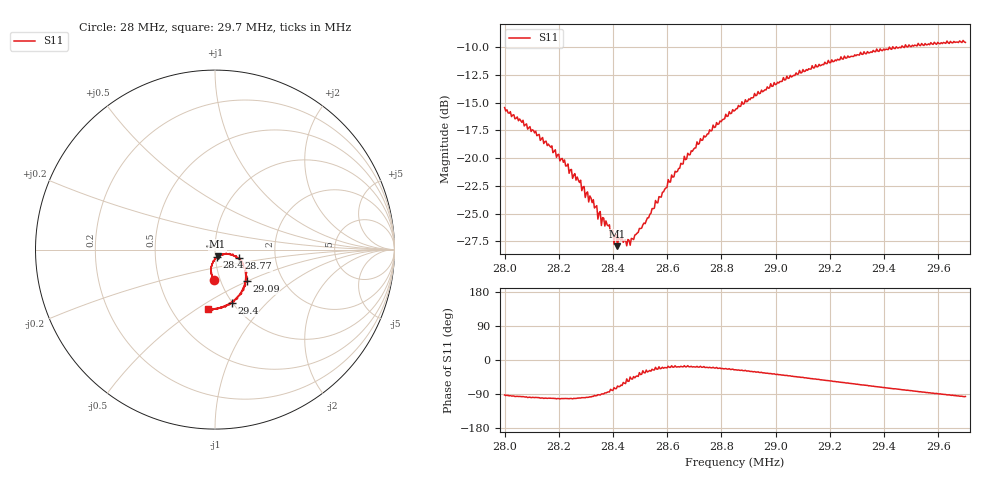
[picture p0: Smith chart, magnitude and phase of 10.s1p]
# Hz S RI R 50
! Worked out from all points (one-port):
!   401 points, 28 MHz to 29.7 MHz, reference 50 ohm
!   lowest |S11| = -27.9 dB at 28.42 MHz (marker M1), VSWR 1.08, Z = 51.3 - j3.84 ohm
!   |S11| at or under -10 dB: start of sweep to 29.42 MHz; 29.41983 MHz to 29.43132 MHz (11.49 kHz wide, 0.0391 % of centre); 29.43374 MHz to 29.44393 MHz (10.19 kHz wide, 0.0346 % of centre)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
!   S11 on the Smith chart (normalised r, x): 28 MHz: 0.93, -0.32; 28.4 MHz: 1.02, -0.08; 28.77 MHz: 1.30, -0.12; 29.09 MHz: 1.32, -0.49; 29.4 MHz: 0.99, -0.65; 29.7 MHz: 0.75, -0.56
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2.8e7  -0.00721 -0.1688
2.8119e7  -0.0199 -0.1246
2.82125e7  -0.0205 -0.0975
2.82465e7  -0.0179 -0.0871
2.8272e7  -0.0145 -0.0782
2.829325e7  -0.0122 -0.0735
2.83315e7  -0.00384 -0.0594
2.835275e7  -0.00241 -0.0574
2.836975e7  0.00276 -0.0493
2.840375e7  0.0121 -0.0391
2.841225e7  0.0112 -0.0435
2.84165e7  0.0146 -0.0373
2.8425e7  0.0148 -0.0407
2.845475e7  0.0238 -0.0357
2.847175e7  0.0276 -0.0334
2.8527e7  0.0457 -0.0282
2.8612e7  0.0735 -0.0259
2.86375e7  0.0829 -0.027
2.86715e7  0.0943 -0.0303
2.876925e7  0.1331 -0.0462
2.885e7  0.1481 -0.0713
2.893075e7  0.1633 -0.1016
2.90625e7  0.1716 -0.1593
2.9088e7  0.176 -0.1756
2.9275e7  0.1359 -0.2522
2.939825e7  0.0932 -0.296
2.94875e7  0.0561 -0.312
2.97e7  -0.0362 -0.3307
